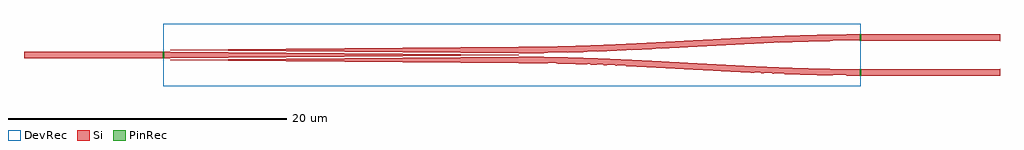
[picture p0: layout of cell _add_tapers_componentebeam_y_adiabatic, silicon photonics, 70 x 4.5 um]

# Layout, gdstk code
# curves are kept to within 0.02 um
from math import pi, radians
import gdstk
lib = gdstk.Library(unit=1e-6, precision=1e-09)
def R(c, l, rs):  # rectangles x0, y0, x1, y1
    for r in rs: c.add(gdstk.rectangle(r[:2], r[2:], *l))
def P(c, l, *ps):  # polygons
    for p in ps: c.add(gdstk.Polygon(p, *l))
Si = (1, 0)
PinRec = (1, 10)
DevRec = (68, 0)

taper_width20p45 = lib.new_cell('taper_width20p45')
P(taper_width20p45, Si, [(0,0.25),(10,0.225),(10,-0.225),(0,-0.25)])

ebeam_y_adiabatic = lib.new_cell('ebeam_y_adiabatic')
P(ebeam_y_adiabatic, Si, [(25.55,0.13),(0.55,0.325),(0.55,0.385),(28.485,0.615),(32.989,0.777),(44.181,1.346),(47.115,1.44),(50.05,1.475),(50.05,1.025),(47.388,0.996),(44.863,0.922),(31.59,0.266),(28.485,0.165)],
  [(49.743,-1.475),(47.115,-1.44),(44.181,-1.346),(32.989,-0.777),(28.485,-0.615),(0.55,-0.385),(0.55,-0.325),(25.55,-0.13),(28.485,-0.165),(32.989,-0.327),(44.181,-0.896),(47.115,-0.99),(50.05,-1.025),(50.05,-1.475)],
  [(0.05,-0.225),(0.05,0.225),(0.55,0.225),(25.55,0.03),(25.55,-0.03),(0.55,-0.225)])
R(ebeam_y_adiabatic, DevRec, [(0.05,-2.25,50.05,2.25)])
ebeam_y_adiabatic.add(gdstk.FlexPath([(0.1,0),(0,0)], 0.45, ends="flush", simple_path=True, layer=1, datatype=10))  # PinRec
ebeam_y_adiabatic.add(gdstk.FlexPath([(50,1.25),(50.1,1.25)], 0.45, ends="flush", simple_path=True, layer=1, datatype=10))  # PinRec
ebeam_y_adiabatic.add(gdstk.FlexPath([(50,-1.25),(50.1,-1.25)], 0.45, ends="flush", simple_path=True, layer=1, datatype=10))  # PinRec
ebeam_y_adiabatic.add(gdstk.Label('Component=ebeam_y_adiabatic', (30,-2.19), layer=68, texttype=0))
ebeam_y_adiabatic.add(gdstk.Label('A. Khavasi et. al, doi.org/10.1109/JSTQE.2019.2917501 ', (0.59,0.81), layer=68, texttype=0))
ebeam_y_adiabatic.add(gdstk.Label('Lumerical_INTERCONNECT_library=Design kits/ebeam', (0.59,-2.19), layer=68, texttype=0))
ebeam_y_adiabatic.add(gdstk.Label('opt3', (50.05,-1.25), layer=1, texttype=10))
ebeam_y_adiabatic.add(gdstk.Label('opt2', (50.05,1.25), layer=1, texttype=10))
ebeam_y_adiabatic.add(gdstk.Label('opt1', (0.05,0), layer=1, texttype=10))

c__add_tapers_componentebe = lib.new_cell('_add_tapers_componentebeam_y_adiabatic')
c__add_tapers_componentebe.add(gdstk.Reference(taper_width20p45, (-9.95,0)))
c__add_tapers_componentebe.add(gdstk.Reference(taper_width20p45, (60.05,1.25), rotation=pi))
c__add_tapers_componentebe.add(gdstk.Reference(taper_width20p45, (60.05,-1.25), rotation=pi))
c__add_tapers_componentebe.add(gdstk.Reference(ebeam_y_adiabatic, (0,0)))

lib.write_gds('_add_tapers_componentebeam_y_adiabatic.gds')
